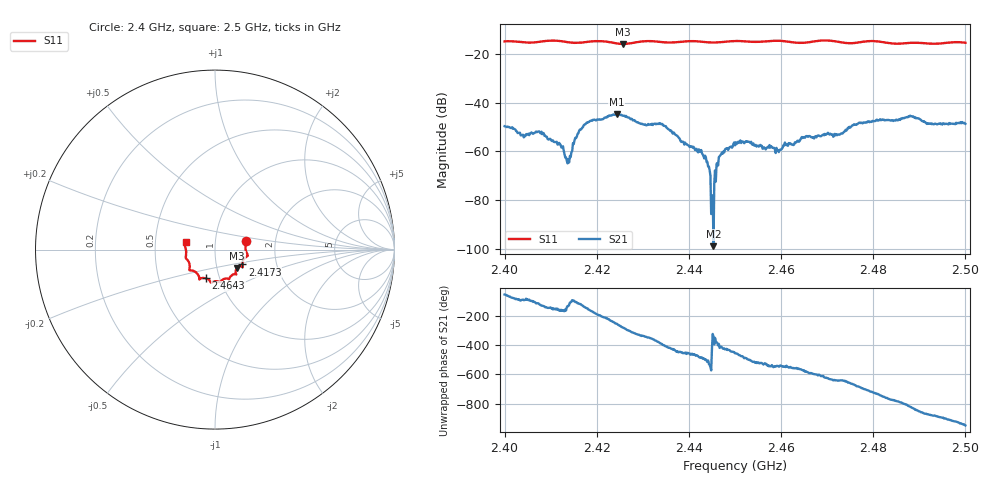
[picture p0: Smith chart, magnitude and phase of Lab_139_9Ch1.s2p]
# Hz S RI R 50
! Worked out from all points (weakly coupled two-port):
!   601 points, 2.4 GHz to 2.5 GHz, reference 50 ohm
!   highest |S21| = -44.64 dB at 2.4243 GHz (marker M1); lowest = -98.8 dB at 2.4453 GHz (marker M2)
!   lowest |S11| = -15.9 dB at 2.4257 GHz (marker M3), VSWR 1.38, Z = 62.4 - j13.1 ohm
!   |S11| at or under -10 dB: start of sweep to end of sweep
!   S12 and S22 are empty: the file has one direction only
!   S11 on the Smith chart (normalised r, x): 2.4 GHz: 1.41, +0.14; 2.4173 GHz: 1.34, -0.23; 2.4643 GHz: 0.86, -0.28; 2.5 GHz: 0.72, +0.06
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2.4e9  0.1736 0.0496  0.00196 -0.00264  0 0  0 0
2.404e9  0.1715 0.025  9.45e-05 -0.0022  0 0  0 0
2.408e9  0.1782 -0.0212  -0.00161 -0.00197  0 0  0 0
2.412167e9  0.1789 -0.0368  -0.00129 -0.000347  0 0  0 0
2.413667e9  0.1684 -0.0442  -0.000381 -0.000424  0 0  0 0
2.416667e9  0.1528 -0.0749  -0.00162 -0.00238  0 0  0 0
2.417333e9  0.1522 -0.0824  -0.00267 -0.00235  0 0  0 0
2.424333e9  0.1332 -0.095  -0.00172 0.00561  0 0  0 0
2.425667e9  0.1225 -0.1023  0.000763 0.00532  0 0  0 0
2.433333e9  0.1126 -0.1367  0.00353 -0.0011  0 0  0 0
2.443167e9  0.0687 -0.1618  -0.000509 -0.000624  0 0  0 0
2.444e9  0.0631 -0.1609  -0.000551 -0.000266  0 0  0 0
2.444833e9  0.0565 -0.1615  -4.4e-05 2.81e-05  0 0  0 0
2.445333e9  0.0525 -0.1625  1.08e-05 3.74e-06  0 0  0 0
2.446167e9  0.0459 -0.1657  0.000525 -0.000247  0 0  0 0
2.447e9  0.0399 -0.1693  0.000565 -0.000678  0 0  0 0
2.45e9  0.0295 -0.1808  -0.000122 -0.00133  0 0  0 0
2.459333e9  -0.0221 -0.1843  -0.00105 3.43e-05  0 0  0 0
2.464333e9  -0.0503 -0.1603  -0.00168 0.000821  0 0  0 0
2.466667e9  -0.0764 -0.1595  -0.00119 0.00156  0 0  0 0
2.483333e9  -0.1407 -0.0894  0.003 -0.00325  0 0  0 0
2.5e9  -0.1637 0.0418  -0.00242 0.00279  0 0  0 0
